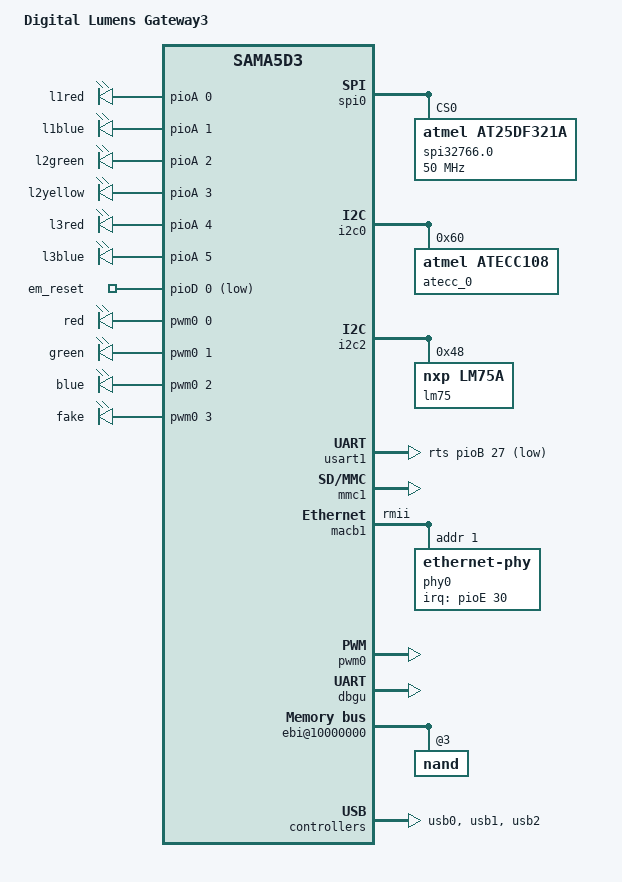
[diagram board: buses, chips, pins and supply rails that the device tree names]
// SPDX-License-Identifier: GPL-2.0-or-later
/*
 * sama5d31ek.dts - Device Tree file for SAMA5D31-EK board
 *
 *  Copyright (C) 2013 Atmel,
 *                2013 Ludovic Desroches <ludovic.desroches@atmel.com>
 */
/dts-v1/;
#include "sama5d3.dtsi"
#include "sama5d3xcm.dtsi"
#include "sama5d3_emac.dtsi"

/ {
	model = "Digital Lumens Gateway3";
	compatible = "digitallumens,gateway3", "atmel,sama5d3xmb", "atmel,sama5d3xcm", "atmel,sama5d31", "atmel,sama5d3", "atmel,sama5";

	ahb {
		apb {
			spi0: spi@f0004000 {
				status = "okay";
				m25p80@0 {
					compatible = "atmel,at25df321a";
					spi-max-frequency = <50000000>;
					reg = <0>;
					label = "spi32766.0";
				};
			};

			ssc0: ssc@f0008000 {
				status = "okay";
			};

			i2c0: i2c@f0014000 {
				status = "okay";
				atecc_0: certificate-gateway@60 {
					compatible = "atmel,atecc108";
					reg = <0x60>;
				};
			};

			i2c2: i2c@f801c000 {
				status = "okay";
				lm75: lm75@48 {
					compatible = "nxp,lm75a";
					reg = <0x48>;
				};
			};

			usart1: serial@f0020000 {
				pinctrl-names = "default";
				rts-gpios = <&pioB 27 GPIO_ACTIVE_LOW>;
				cts-gpios = <&pioB 26 GPIO_ACTIVE_LOW>;
				status = "okay";
			};

			mmc1: mmc@f8000000 {
				pinctrl-names = "default";
				pinctrl-0 = <&pinctrl_mmc1_clk_cmd_dat0 &pinctrl_mmc1_dat1_3 &pinctrl_mmc1_cd>;
				status = "okay";
				slot@0 {
					reg = <0>;
					bus-width = <4>;
					cd-gpios = <&pioD 18 GPIO_ACTIVE_HIGH>;
				};
			};

			macb1: ethernet@f802c000 {
				phy-mode = "rmii";
				status = "okay";
				#address-cells = <1>;
				#size-cells = <0>;
				phy0: ethernet-phy@1 {
					interrupt-parent = <&pioE>;
					interrupts = <30 IRQ_TYPE_EDGE_FALLING>;
					reg = <1>;
				};
			};

			pwm0: pwm@f002c000 {
				pinctrl-names = "default";
				pinctrl-0 = <&pinctrl_pwm0_pwmh0_0 &pinctrl_pwm0_pwmh1_0 &pinctrl_pwm0_pwmh2_1>;
				status = "okay";
			};

			pinctrl@fffff200 {
				board {
					pinctrl_mmc1_cd: mmc1_cd {
						atmel,pins =
							<AT91_PIOD 18 AT91_PERIPH_GPIO AT91_PINCTRL_PULL_UP_DEGLITCH>; /* PD18 GPIO with pullup deglitch */
					};

					pinctrl_usba_vbus: usba_vbus {
						atmel,pins =
							<AT91_PIOD 29 AT91_PERIPH_GPIO AT91_PINCTRL_DEGLITCH>; /* PD29 GPIO with deglitch */
					};
				};
			};

			dbgu: serial@ffffee00 {
				status = "okay";
			};

			watchdog@fffffe40 {
				status = "okay";
			};
		};

		ebi@10000000 {
			nand_controller: nand-controller {
				nand@3 {
					nand-ecc-strength = <8>;
				};
			};
		};

		usb0: gadget@00500000 {
			atmel,vbus-gpio = <&pioD 29 GPIO_ACTIVE_HIGH>;
			pinctrl-names = "default";
			pinctrl-0 = <&pinctrl_usba_vbus>;
			status = "okay";
		};

		usb1: ohci@00600000 {
			num-ports = <3>;
			atmel,vbus-gpio = <0
					   &pioD 26 GPIO_ACTIVE_HIGH
					   0
					  >;
			atmel,oc-gpio = <0
					 &pioD 28 0
					 0
					>;
			status = "okay";
		};

		usb2: ehci@00700000 {
			status = "okay";
		};
	};

	leds {
	     compatible = "gpio-leds";
	     l1red {
	     	gpios = <&pioA 0 GPIO_ACTIVE_HIGH>;
		linux,default-trigger = "timer";
		linux,default-delay_on = "500";
		linux,default-delay_off = "500";
	     };
	     l1blue {
	     	gpios = <&pioA 1 GPIO_ACTIVE_HIGH>;
		default-state = "off";
	     };
	     l2green {
	     	gpios = <&pioA 2 GPIO_ACTIVE_HIGH>;
		default-state = "off";
	     };
	     l2yellow {
	     	gpios = <&pioA 3 GPIO_ACTIVE_HIGH>;
		default-state = "off";
	     };
	     l3red {
	     	gpios = <&pioA 4 GPIO_ACTIVE_HIGH>;
		default-state = "off";
	     };
	     l3blue {
	     	gpios = <&pioA 5 GPIO_ACTIVE_HIGH>;
		default-state = "off";
	     };
	     emreset {
	     	label = "em_reset";
		gpios = <&pioD 0 GPIO_ACTIVE_LOW>;
		linux,default-trigger = "oneshot";
		linux,default-delay_on = "20";
		linux,default-delay_off = "100";
	     };
	};
	pwmleds {
	     compatible = "pwm-leds";
	     red {
	     	label = "red";
		pwms = <&pwm0 0 5000 0>;
		max-brightness = <255>;
		linux,default-trigger = "default-on";
	     };
	     green {
	     	label = "green";
		pwms = <&pwm0 1 5000 0>;
		max-brightness = <255>;
	     };
	     blue {
	     	label = "blue";
		pwms = <&pwm0 2 5000 0>;
		max-brightness = <255>;
	     };
	     fake {
	        /*Fake LED that is always on to prevent linux from
		  disabling the PWM when RGB are all off.*/
                label = "fake";
		max-brightness = <255>;
		pwms = <&pwm0 3 5000 0>;
		linux,default-trigger = "default-on";
	     };
	};

};
